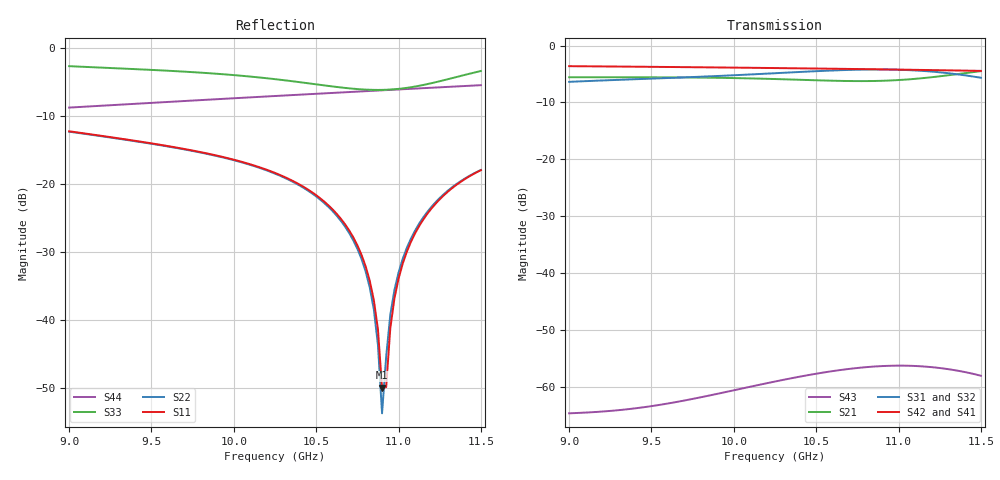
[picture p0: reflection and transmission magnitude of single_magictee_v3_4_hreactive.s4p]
! Touchstone file exported from HFSS 2025.2.4
!  File:  //wsl.localhost/Ubuntu/tmp/hfss-r11/hfss/output_v3_4_jacobian/h_throat_len_plus/single_magictee_v3_4_hreactive.aedt
!  Generated:  03:02:35 PM Sep 22, 2026
!  Design:  SingleMagicT_v3_4_HReactiveCell
!  Project:  single_magictee_v3_4_hreactive
! Variables:
!  f_adapt = 10.2GHz
!  h_cap_height = 9mm
!  h_cap_len = 2.5mm
!  h_terminal_ridge_w = 4.572mm
!  h_throat_a = 20.4mm
!  h_throat_len = 6.5mm
!  ridge_g1 = 7.672mm
!  ridge_g2 = 5.8mm
!  ridge_l1 = 9.872mm
!  ridge_l2 = 8.857mm
!  ridge_w = 4.572mm
!  terminal_ridge_len = 7.5mm
!  wg_a = 22.86mm
!  wg_b = 10.16mm
!Data is not renormalized
# GHz S MA
! Terminal data exported
! Port[1] = P1_CollinearMinusX
! Port[2] = P2_CollinearPlusX
! Port[3] = P3_HArm_Ridged
! Port[4] = P4_EArm
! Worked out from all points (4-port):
!   101 points, 9 GHz to 11.5 GHz, reference per port
!   strongest paths, dB at 9 GHz, 9.625 GHz, 10.25 GHz, 10.88 GHz, 11.5 GHz:
!     S42: -3.6, -3.8, -4.0, -4.2, -4.5
!     S41: -3.6, -3.8, -4.0, -4.2, -4.5
!     S31: -6.4, -5.7, -4.9, -4.2, -5.7
!     S32: -6.4, -5.7, -4.9, -4.2, -5.7
!     S21: -5.6, -5.6, -5.9, -6.2, -4.5
!     S43: -64.6, -62.8, -59.0, -56.4, -58.0
!   lowest |S11| = -49.9 dB at 10.9 GHz (marker M1), VSWR 1.01
!   |S11| at or under -10 dB: start of sweep to end of sweep
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9  0.2442 145.8  0.5267 -176.8  0.4797 57.2  0.6579 45.9
   0.5267 -176.8  0.2425 145.9  0.4792 57.2  0.6589 -134.0
   0.4797 57.2  0.4792 57.2  0.735 122.8  0.0005879 -160.6
   0.6579 45.9  0.6589 -134.0  0.0005879 -160.6  0.3647 -115.3
9.7  0.1809 65.2  0.5243 106.9  0.5253 -40.3  0.6453 -32.9
     0.5243 106.9  0.1796 65.4  0.5247 -40.4  0.6462 147.2
     0.5253 -40.3  0.5247 -40.4  0.6699 2.7  0.0007617 118.9
     0.6453 -32.9  0.6462 147.2  0.0007617 118.9  0.4075 170.4
10.55  0.0741 -40.8  0.493 22.2  0.5998 -160.2  0.6259 -123.4
       0.493 22.2  0.0723 -40.0  0.5989 -160.4  0.6269 56.7
       0.5998 -160.2  0.5989 -160.4  0.5307 -155.8  0.001346 2.7
       0.6259 -123.4  0.6269 56.7  0.001346 2.7  0.4639 83.1
10.8  0.02491 -74.0  0.4873 1.0  0.6151 161.6  0.6193 -149.3
      0.4873 1.0  0.02283 -72.0  0.6141 161.5  0.6204 30.7
      0.6151 161.6  0.6141 161.5  0.4944 144.8  0.001494 -37.3
      0.6193 -149.3  0.6204 30.7  0.001494 -37.3  0.4813 57.7
10.9  0.003183 -64.2  0.4903 -7.0  0.6161 145.9  0.6165 -159.6
      0.4903 -7.0  0.002064 -19.5  0.615 145.7  0.6176 20.4
      0.6161 145.9  0.615 145.7  0.4921 118.8  0.001528 -53.7
      0.6165 -159.6  0.6176 20.4  0.001528 -53.7  0.4884 47.6
11.05  0.03171 62.5  0.5031 -18.7  0.6092 121.9  0.6121 -175.0
       0.5031 -18.7  0.03387 62.5  0.608 121.7  0.6133 5.0
       0.6092 121.9  0.608 121.7  0.5091 78.6  0.00154 -78.7
       0.6121 -175.0  0.6133 5.0  0.00154 -78.7  0.4992 32.4
11.5  0.1264 -3.5  0.5961 -57.8  0.521 49.0  0.5977 138.9
      0.5961 -57.8  0.1269 -2.9  0.5194 48.9  0.599 -41.1
      0.521 49.0  0.5194 48.9  0.6773 -33.0  0.001256 -148.8
      0.5977 138.9  0.599 -41.1  0.001256 -148.8  0.5328 -13.1
